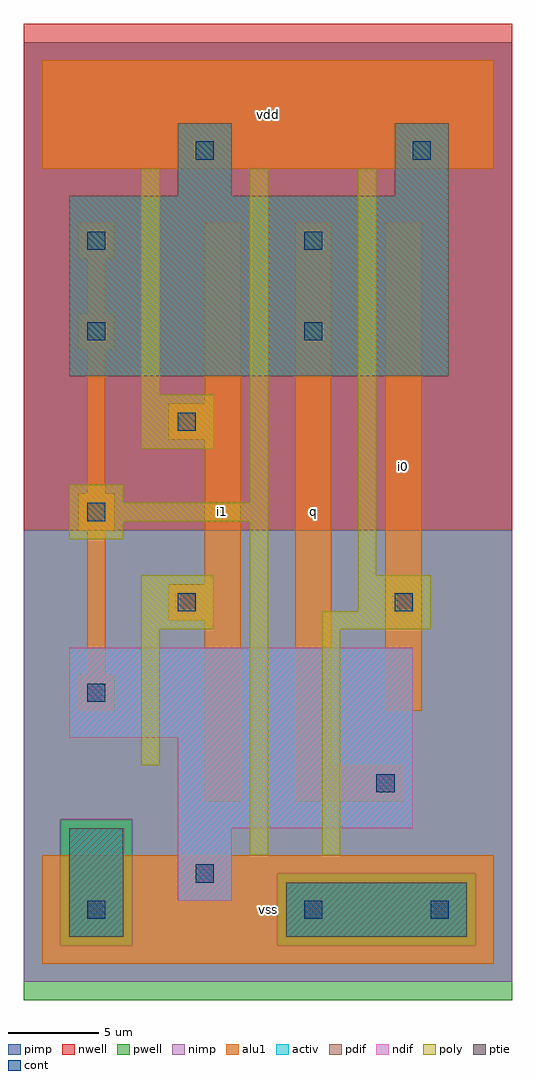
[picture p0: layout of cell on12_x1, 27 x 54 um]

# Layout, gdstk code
import gdstk
lib = gdstk.Library(unit=1e-6, precision=1e-09)
def R(c, l, rs):  # rectangles x0, y0, x1, y1
    for r in rs: c.add(gdstk.rectangle(r[:2], r[2:], *l))
def A(c, l, x, y, w, h, nx, ny, dx, dy):  # array of equal rectangles
    R(c, l, [(x+i*dx, y+j*dy, x+i*dx+w, y+j*dy+h) for i in range(nx) for j in range(ny)])
ndif = (3, 0)
pdif = (4, 0)
ptie = (6, 0)
cont = (25, 0)
pwell = (41, 0)
nwell = (42, 0)
activ = (43, 0)
pimp = (44, 0)
nimp = (45, 0)
poly = (46, 0)
alu1 = (49, 0)

on12_x1 = lib.new_cell('on12_x1')
R(on12_x1, ndif, [(7.5,3.5,10.5,7.5), (7.5,7.5,20.5,12.5), (1.5,12.5,20.5,17.5)])
R(on12_x1, pdif, [(1.5,32.5,22.5,42.5), (7.5,42.5,10.5,46.5), (19.5,42.5,22.5,46.5)])
R(on12_x1, ptie, [(1.5,1.5,4.5,7.5), (13.5,1.5,23.5,4.5)])
A(on12_x1, cont, 2.5, 14.5, 1, 1, 1, 3, 0, 10)
R(on12_x1, cont, [(2.5,2.5,3.5,3.5), (14.5,2.5,15.5,3.5), (21.5,2.5,22.5,3.5), (8.5,4.5,9.5,5.5), (18.5,9.5,19.5,10.5), (7.5,19.5,8.5,20.5), (19.5,19.5,20.5,20.5), (7.5,29.5,8.5,30.5), (14.5,34.5,15.5,35.5), (2.5,39.5,3.5,40.5), (14.5,39.5,15.5,40.5), (8.5,44.5,9.5,45.5), (20.5,44.5,21.5,45.5)])
R(on12_x1, pwell, [(-1,-2,26,24)])
R(on12_x1, nwell, [(-1,24,26,52)])
R(on12_x1, activ, [(1.5,1.5,4.5,7.5), (13.5,1.5,23.5,4.5), (7.5,3.5,10.5,7.5), (7.5,7.5,20.5,12.5), (1.5,12.5,20.5,17.5), (1.5,32.5,22.5,42.5), (7.5,42.5,10.5,46.5), (19.5,42.5,22.5,46.5)])
R(on12_x1, pimp, [(1,1,5,8), (13,1,24,5), (-1,24,26,51)])
R(on12_x1, nimp, [(-1,-1,26,1), (-1,1,1,8), (5,1,13,5), (24,1,26,5), (5,5,26,8), (-1,8,26,24)])
R(on12_x1, poly, [(11.5,6,12.5,24.5), (15.5,6,16.5,18.5), (5.5,11,6.5,18.5), (5.5,18.5,9.5,21.5), (15.5,18.5,21.5,19.5), (17.5,19.5,21.5,21.5), (17.5,21.5,18.5,44), (1.5,23.5,4.5,24.5), (1.5,24.5,12.5,25.5), (1.5,25.5,4.5,26.5), (11.5,25.5,12.5,44), (5.5,28.5,9.5,31.5), (5.5,31.5,6.5,44)])
A(on12_x1, alu1, 2, 14, 2, 2, 1, 3, 0, 10)
R(on12_x1, alu1, [(0,0,25,6), (9,9,11,19), (14,9,20,11), (14,11,16,41), (19,14,21,41), (2.5,16,3.5,24), (7,19,11,21), (9,21,11,29), (2.5,26,3.5,34), (7,29,11,31), (9,31,11,41), (2.5,36,3.5,39), (2,39,4,41), (0,44,25,50)])
on12_x1.add(gdstk.Label('i1', (10,25), layer=49, texttype=0))
on12_x1.add(gdstk.Label('vss', (12.5,3), layer=49, texttype=0))
on12_x1.add(gdstk.Label('q', (15,25), layer=49, texttype=0))
on12_x1.add(gdstk.Label('vdd', (12.5,47), layer=49, texttype=0))
on12_x1.add(gdstk.Label('i0', (20,27.5), layer=49, texttype=0))

lib.write_gds('on12_x1.gds')
